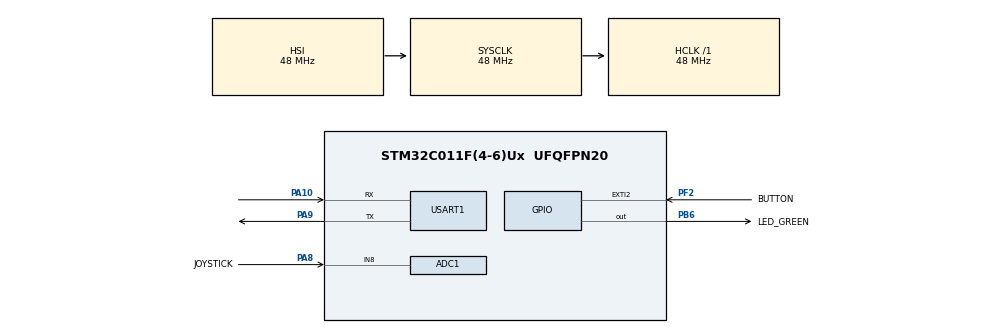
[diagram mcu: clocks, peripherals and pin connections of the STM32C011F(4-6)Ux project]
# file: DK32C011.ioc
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ADC1.Channel-0\#ChannelRegularConversion=ADC_CHANNEL_TEMPSENSOR
ADC1.Channel-1\#ChannelRegularConversion=ADC_CHANNEL_VREFINT
ADC1.Channel-2\#ChannelRegularConversion=ADC_CHANNEL_8
ADC1.ClockPrescaler=ADC_CLOCK_ASYNC_DIV32
ADC1.DataAlign=ADC_DATAALIGN_RIGHT
ADC1.NbrOfConversion=3
ADC1.NbrOfConversionFlag=1
ADC1.Rank-0\#ChannelRegularConversion=1
ADC1.Rank-1\#ChannelRegularConversion=2
ADC1.Rank-2\#ChannelRegularConversion=3
ADC1.Resolution=ADC_RESOLUTION_12B
ADC1.SamplingTime-1\#ChannelRegularConversion=ADC_SAMPLINGTIME_COMMON_1
ADC1.SamplingTime-2\#ChannelRegularConversion=ADC_SAMPLINGTIME_COMMON_1
ADC1.SamplingTimeCommon1=ADC_SAMPLETIME_160CYCLES_5
ADC1.SelectedChannel=ADC_CHANNEL_TEMPSENSOR|ADC_CHANNEL_VREFINT|ADC_CHANNEL_8
ADC1.Sequencer=FULLY_CONFIGURABLE
ADC1.TriggerFrequencyMode=ADC_TRIGGER_FREQ_LOW
ADC1.master=1
Dma.ADC1.0.Direction=DMA_PERIPH_TO_MEMORY
Dma.ADC1.0.EventEnable=DISABLE
Dma.ADC1.0.Instance=DMA1_Channel3
Dma.ADC1.0.MemDataAlignment=DMA_MDATAALIGN_HALFWORD
Dma.ADC1.0.MemInc=DMA_MINC_ENABLE
Dma.ADC1.0.Mode=DMA_NORMAL
Dma.ADC1.0.PeriphDataAlignment=DMA_PDATAALIGN_HALFWORD
Dma.ADC1.0.PeriphInc=DMA_PINC_DISABLE
Dma.ADC1.0.Polarity=HAL_DMAMUX_REQ_GEN_RISING
Dma.ADC1.0.Priority=DMA_PRIORITY_LOW
Dma.ADC1.0.RequestNumber=1
Dma.ADC1.0.SignalID=NONE
Dma.ADC1.0.SyncEnable=DISABLE
Dma.ADC1.0.SyncPolarity=HAL_DMAMUX_SYNC_NO_EVENT
Dma.ADC1.0.SyncRequestNumber=1
Dma.ADC1.0.SyncSignalID=NONE
Dma.Request0=ADC1
Dma.Request1=USART1_RX
Dma.Request2=USART1_TX
Dma.USART1_RX.1.Direction=DMA_PERIPH_TO_MEMORY
Dma.USART1_RX.1.EventEnable=DISABLE
Dma.USART1_RX.1.Instance=DMA1_Channel1
Dma.USART1_RX.1.MemDataAlignment=DMA_MDATAALIGN_BYTE
Dma.USART1_RX.1.MemInc=DMA_MINC_ENABLE
Dma.USART1_RX.1.Mode=DMA_NORMAL
Dma.USART1_RX.1.PeriphDataAlignment=DMA_PDATAALIGN_BYTE
Dma.USART1_RX.1.PeriphInc=DMA_PINC_DISABLE
Dma.USART1_RX.1.Polarity=HAL_DMAMUX_REQ_GEN_RISING
Dma.USART1_RX.1.Priority=DMA_PRIORITY_LOW
Dma.USART1_RX.1.RequestNumber=1
Dma.USART1_RX.1.SignalID=NONE
Dma.USART1_RX.1.SyncEnable=DISABLE
Dma.USART1_RX.1.SyncPolarity=HAL_DMAMUX_SYNC_NO_EVENT
Dma.USART1_RX.1.SyncRequestNumber=1
Dma.USART1_RX.1.SyncSignalID=NONE
Dma.USART1_TX.2.Direction=DMA_MEMORY_TO_PERIPH
Dma.USART1_TX.2.EventEnable=DISABLE
Dma.USART1_TX.2.Instance=DMA1_Channel2
Dma.USART1_TX.2.MemDataAlignment=DMA_MDATAALIGN_BYTE
Dma.USART1_TX.2.MemInc=DMA_MINC_ENABLE
Dma.USART1_TX.2.Mode=DMA_NORMAL
Dma.USART1_TX.2.PeriphDataAlignment=DMA_PDATAALIGN_BYTE
Dma.USART1_TX.2.PeriphInc=DMA_PINC_DISABLE
Dma.USART1_TX.2.Polarity=HAL_DMAMUX_REQ_GEN_RISING
Dma.USART1_TX.2.Priority=DMA_PRIORITY_LOW
Dma.USART1_TX.2.RequestNumber=1
Dma.USART1_TX.2.SignalID=NONE
Dma.USART1_TX.2.SyncEnable=DISABLE
Dma.USART1_TX.2.SyncPolarity=HAL_DMAMUX_SYNC_NO_EVENT
Dma.USART1_TX.2.SyncRequestNumber=1
Dma.USART1_TX.2.SyncSignalID=NONE
Mcu.Family=STM32C0
Mcu.Name=STM32C011F(4-6)Ux
Mcu.Package=UFQFPN20
NVIC.DMA1_Channel1_IRQn=true\:0\:0\:false\:false\:true\:false\:true\:true
NVIC.DMA1_Channel2_3_IRQn=true\:0\:0\:false\:false\:true\:false\:true\:true
NVIC.EXTI2_3_IRQn=true\:0\:0\:false\:false\:true\:true\:true\:true
PA10\ [PA12].Mode=Asynchronous
PA10\ [PA12].Signal=USART1_RX
PA13.Mode=Serial_Wire
PA13.Signal=DEBUG_SWDIO
PA14-BOOT0.Mode=Serial_Wire
PA14-BOOT0.Signal=DEBUG_SWCLK
PA2.Signal=USART2_TX
PA3.Signal=USART2_RX
PA4.Signal=SPI1_NSS
PA5.Signal=SPI1_SCK
PA6.Signal=SPI1_MISO
PA7.Signal=SPI1_MOSI
PA8.GPIO_Label=JOYSTICK
PA8.GPIO_Mode=GPIO_MODE_ANALOG
PA8.GPIO_PuPd=GPIO_NOPULL
PA8.Mode=IN8
PA8.Signal=ADC1_IN8
PA9\ [PA11].Mode=Asynchronous
PA9\ [PA11].Signal=USART1_TX
PB6.GPIO_Label=LED_GREEN
PB6.GPIO_Speed=GPIO_SPEED_FREQ_VERY_HIGH
PB6.PinState=GPIO_PIN_SET
PB6.Signal=GPIO_Output
PF2-NRST.GPIO_Label=BUTTON
PF2-NRST.Signal=GPXTI2
ProjectManager.HeapSize=0x200
ProjectManager.StackSize=0x400
ProjectManager.TargetToolchain=STM32CubeIDE
RCC.ADCFreq_Value=48000000
RCC.AHBFreq_Value=48000000
RCC.CortexFreq_Value=48000000
RCC.EXTERNAL_CLOCK_VALUE=12288000
RCC.HCLKFreq_Value=48000000
RCC.HSE_VALUE=8000000
RCC.HSISYSCLKDivider=RCC_HSI_DIV1
RCC.HSI_VALUE=48000000
RCC.LSE_VALUE=32768
RCC.SYSCLKFreq_VALUE=48000000
USART1.VirtualMode-Asynchronous=VM_ASYNC
VP_ADC1_TempSens_Input.Mode=IN-TempSens
VP_ADC1_Vref_Input.Mode=IN-Vrefint
VP_SYS_VS_PINREMAP.Mode=PINREMAP
VP_SYS_VS_PINREMAP_10_12.Mode=PINREMAP_10_12
board=STM32C0116-DK

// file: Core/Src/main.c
/* USER CODE BEGIN Header */
/**
  ******************************************************************************
  * @file           : main.c
  * @brief          : Main program body
  ******************************************************************************
  * @attention
  *
  * Copyright (c) 2024 STMicroelectronics.
  * All rights reserved.
  *
  * This software is licensed under terms that can be found in the LICENSE file
  * in the root directory of this software component.
  * If no LICENSE file comes with this software, it is provided AS-IS.
  *
  ******************************************************************************
  */
/* USER CODE END Header */
#include "main.h"

/* USER CODE BEGIN PM */
/* Definitions of internal temperature sensor */
#define INTERNAL_TEMPSENSOR_AVGSLOPE   ((int32_t) 2530)        /* Internal temperature sensor, parameter Avg_Slope (unit: uV/DegCelsius). Refer to device datasheet for min/typ/max values. */
#define INTERNAL_TEMPSENSOR_V30        ((((int32_t)*TEMPSENSOR_CAL1_ADDR) \
                                        * TEMPSENSOR_CAL_VREFANALOG) / __LL_ADC_DIGITAL_SCALE(LL_ADC_RESOLUTION_12B)) /* Internal temperature sensor, parameter V30 (unit: mV), using calibration data (alternate solution possible with datasheet parameter: V30=760mV typ for STM32C0) */
#define INTERNAL_TEMPSENSOR_V30_TEMP   (TEMPSENSOR_CAL1_TEMP)

/* USER CODE END PM */

ADC_HandleTypeDef hadc1;
DMA_HandleTypeDef hdma_adc1;

UART_HandleTypeDef huart1;
DMA_HandleTypeDef hdma_usart1_rx;
DMA_HandleTypeDef hdma_usart1_tx;

/* USER CODE BEGIN PV */
COM_InitTypeDef BspCOMInit;

/* USER CODE END PV */

void SystemClock_Config(void);
static void MX_GPIO_Init(void);
static void MX_DMA_Init(void);
static void MX_ADC1_Init(void);
static void MX_USART1_UART_Init(void);

/* USER CODE BEGIN 0 */
static char uart_tx_data[512];
__IO uint32_t adc_data[3];

/* USER CODE END 0 */

int main(void)
{

  /* MCU Configuration--------------------------------------------------------*/

  /* Reset of all peripherals, Initializes the Flash interface and the Systick. */
  HAL_Init();

  /* Configure the system clock */
  SystemClock_Config();

  /* Initialize all configured peripherals */
  MX_GPIO_Init();
  MX_DMA_Init();
  MX_ADC1_Init();
  MX_USART1_UART_Init();
  /* USER CODE BEGIN 2 */
  /* Initialize leds */
  BSP_LED_Init(LED_GREEN);

  /* Initialize USER push-button, will be used to trigger an interrupt each time it's pressed.*/
  BSP_PB_Init(BUTTON_USER, BUTTON_MODE_EXTI);

  /* Initialize COM1 port (115200, 8 bits (7-bit data + 1 stop bit), no parity */
  BspCOMInit.BaudRate   = 115200;
  BspCOMInit.WordLength = COM_WORDLENGTH_8B;
  BspCOMInit.StopBits   = COM_STOPBITS_1;
  BspCOMInit.Parity     = COM_PARITY_NONE;
  BspCOMInit.HwFlowCtl  = COM_HWCONTROL_NONE;
  if (BSP_COM_Init(COM1, &BspCOMInit) != BSP_ERROR_NONE)
  {
    Error_Handler();
  }

  /* USER CODE END 2 */

  /* Infinite loop */
  /* USER CODE BEGIN WHILE */

  /* Run the ADC calibration in single-ended mode */
  if (HAL_ADCEx_Calibration_Start(&hadc1) != HAL_OK)
  {
    /* Calibration Error */
    Error_Handler();
  }

  while (1)
  {
	while (LL_ADC_REG_IsConversionOngoing(hadc1.Instance)) {}

	/* Start ADC group regular conversion with DMA */
	if (HAL_ADC_Start_DMA(&hadc1, (uint32_t *)adc_data, 3u) != HAL_OK)
	{
	  /* ADC conversion start error */
	  Error_Handler();
	}

	BSP_LED_Toggle(LED_GREEN);
	HAL_Delay(400);
    /* USER CODE END WHILE */

  }
}

void SystemClock_Config(void)
{
  RCC_OscInitTypeDef RCC_OscInitStruct = {0};
  RCC_ClkInitTypeDef RCC_ClkInitStruct = {0};

  /** Initializes the RCC Oscillators according to the specified parameters
  * in the RCC_OscInitTypeDef structure.
  */
  RCC_OscInitStruct.OscillatorType = RCC_OSCILLATORTYPE_HSI;
  RCC_OscInitStruct.HSIState = RCC_HSI_ON;
  RCC_OscInitStruct.HSIDiv = RCC_HSI_DIV1;
  RCC_OscInitStruct.HSICalibrationValue = RCC_HSICALIBRATION_DEFAULT;
  if (HAL_RCC_OscConfig(&RCC_OscInitStruct) != HAL_OK)
  {
    Error_Handler();
  }

  /** Initializes the CPU, AHB and APB buses clocks
  */
  RCC_ClkInitStruct.ClockType = RCC_CLOCKTYPE_HCLK|RCC_CLOCKTYPE_SYSCLK
                              |RCC_CLOCKTYPE_PCLK1;
  RCC_ClkInitStruct.SYSCLKSource = RCC_SYSCLKSOURCE_HSI;
  RCC_ClkInitStruct.SYSCLKDivider = RCC_SYSCLK_DIV1;
  RCC_ClkInitStruct.AHBCLKDivider = RCC_HCLK_DIV1;
  RCC_ClkInitStruct.APB1CLKDivider = RCC_APB1_DIV1;

  if (HAL_RCC_ClockConfig(&RCC_ClkInitStruct, FLASH_LATENCY_1) != HAL_OK)
  {
    Error_Handler();
  }
}

static void MX_ADC1_Init(void)
{

  ADC_ChannelConfTypeDef sConfig = {0};

  /** Configure the global features of the ADC (Clock, Resolution, Data Alignment and number of conversion)
  */
  hadc1.Instance = ADC1;
  hadc1.Init.ClockPrescaler = ADC_CLOCK_ASYNC_DIV32;
  hadc1.Init.Resolution = ADC_RESOLUTION_12B;
  hadc1.Init.DataAlign = ADC_DATAALIGN_RIGHT;
  hadc1.Init.ScanConvMode = ADC_SCAN_ENABLE;
  hadc1.Init.EOCSelection = ADC_EOC_SINGLE_CONV;
  hadc1.Init.LowPowerAutoWait = DISABLE;
  hadc1.Init.LowPowerAutoPowerOff = DISABLE;
  hadc1.Init.ContinuousConvMode = DISABLE;
  hadc1.Init.NbrOfConversion = 3;
  hadc1.Init.DiscontinuousConvMode = DISABLE;
  hadc1.Init.ExternalTrigConv = ADC_SOFTWARE_START;
  hadc1.Init.ExternalTrigConvEdge = ADC_EXTERNALTRIGCONVEDGE_NONE;
  hadc1.Init.DMAContinuousRequests = DISABLE;
  hadc1.Init.Overrun = ADC_OVR_DATA_PRESERVED;
  hadc1.Init.SamplingTimeCommon1 = ADC_SAMPLETIME_160CYCLES_5;
  hadc1.Init.SamplingTimeCommon2 = ADC_SAMPLETIME_1CYCLE_5;
  hadc1.Init.OversamplingMode = DISABLE;
  hadc1.Init.TriggerFrequencyMode = ADC_TRIGGER_FREQ_LOW;
  if (HAL_ADC_Init(&hadc1) != HAL_OK)
  {
    Error_Handler();
  }

  /** Configure Regular Channel
  */
  sConfig.Channel = ADC_CHANNEL_TEMPSENSOR;
  sConfig.Rank = ADC_REGULAR_RANK_1;
  sConfig.SamplingTime = ADC_SAMPLINGTIME_COMMON_1;
  if (HAL_ADC_ConfigChannel(&hadc1, &sConfig) != HAL_OK)
  {
    Error_Handler();
  }

  /** Configure Regular Channel
  */
  sConfig.Channel = ADC_CHANNEL_VREFINT;
  sConfig.Rank = ADC_REGULAR_RANK_2;
  if (HAL_ADC_ConfigChannel(&hadc1, &sConfig) != HAL_OK)
  {
    Error_Handler();
  }

  /** Configure Regular Channel
  */
  sConfig.Channel = ADC_CHANNEL_8;
  sConfig.Rank = ADC_REGULAR_RANK_3;
  if (HAL_ADC_ConfigChannel(&hadc1, &sConfig) != HAL_OK)
  {
    Error_Handler();
  }
  /* USER CODE BEGIN ADC1_Init 2 */
  /** Configure Regular Channel
    */
    sConfig.Channel = ADC_CHANNEL_8;
    sConfig.Rank = ADC_REGULAR_RANK_3;
    sConfig.SamplingTime = ADC_SAMPLINGTIME_COMMON_1;
    if (HAL_ADC_ConfigChannel(&hadc1, &sConfig) != HAL_OK)
    {
      Error_Handler();
    }

    /** Configure Regular Channel
    */
    sConfig.Channel = ADC_CHANNEL_VREFINT;
    sConfig.Rank = ADC_REGULAR_RANK_2;
    if (HAL_ADC_ConfigChannel(&hadc1, &sConfig) != HAL_OK)
    {
      Error_Handler();
    }

  /* USER CODE END ADC1_Init 2 */

}

static void MX_USART1_UART_Init(void)
{

  huart1.Instance = USART1;
  huart1.Init.BaudRate = 115200;
  huart1.Init.WordLength = UART_WORDLENGTH_8B;
  huart1.Init.StopBits = UART_STOPBITS_1;
  huart1.Init.Parity = UART_PARITY_NONE;
  huart1.Init.Mode = UART_MODE_TX_RX;
  huart1.Init.HwFlowCtl = UART_HWCONTROL_NONE;
  huart1.Init.OverSampling = UART_OVERSAMPLING_16;
  huart1.Init.OneBitSampling = UART_ONE_BIT_SAMPLE_DISABLE;
  huart1.Init.ClockPrescaler = UART_PRESCALER_DIV1;
  huart1.AdvancedInit.AdvFeatureInit = UART_ADVFEATURE_NO_INIT;
  if (HAL_UART_Init(&huart1) != HAL_OK)
  {
    Error_Handler();
  }
  if (HAL_UARTEx_SetTxFifoThreshold(&huart1, UART_TXFIFO_THRESHOLD_1_8) != HAL_OK)
  {
    Error_Handler();
  }
  if (HAL_UARTEx_SetRxFifoThreshold(&huart1, UART_RXFIFO_THRESHOLD_1_8) != HAL_OK)
  {
    Error_Handler();
  }
  if (HAL_UARTEx_DisableFifoMode(&huart1) != HAL_OK)
  {
    Error_Handler();
  }

}

static void MX_DMA_Init(void)
{

  /* DMA controller clock enable */
  __HAL_RCC_DMA1_CLK_ENABLE();

  /* DMA interrupt init */
  /* DMA1_Channel1_IRQn interrupt configuration */
  HAL_NVIC_SetPriority(DMA1_Channel1_IRQn, 0, 0);
  HAL_NVIC_EnableIRQ(DMA1_Channel1_IRQn);
  /* DMA1_Channel2_3_IRQn interrupt configuration */
  HAL_NVIC_SetPriority(DMA1_Channel2_3_IRQn, 0, 0);
  HAL_NVIC_EnableIRQ(DMA1_Channel2_3_IRQn);

}

static void MX_GPIO_Init(void)
{
  GPIO_InitTypeDef GPIO_InitStruct = {0};

  /* GPIO Ports Clock Enable */
  __HAL_RCC_GPIOF_CLK_ENABLE();
  __HAL_RCC_GPIOA_CLK_ENABLE();
  __HAL_RCC_GPIOB_CLK_ENABLE();

  /*Configure GPIO pin Output Level */
  HAL_GPIO_WritePin(LED_GREEN_GPIO_Port, LED_GREEN_Pin, GPIO_PIN_SET);

  /*Configure GPIO pin : BUTTON_Pin */
  GPIO_InitStruct.Pin = BUTTON_Pin;
  GPIO_InitStruct.Mode = GPIO_MODE_IT_RISING;
  GPIO_InitStruct.Pull = GPIO_NOPULL;
  HAL_GPIO_Init(BUTTON_GPIO_Port, &GPIO_InitStruct);

  /*Configure GPIO pins : PA2 PA3 */
  GPIO_InitStruct.Pin = GPIO_PIN_2|GPIO_PIN_3;
  GPIO_InitStruct.Mode = GPIO_MODE_AF_PP;
  GPIO_InitStruct.Pull = GPIO_NOPULL;
  GPIO_InitStruct.Speed = GPIO_SPEED_FREQ_LOW;
  GPIO_InitStruct.Alternate = GPIO_AF1_USART2;
  HAL_GPIO_Init(GPIOA, &GPIO_InitStruct);

  /*Configure GPIO pins : PA4 PA5 PA6 PA7 */
  GPIO_InitStruct.Pin = GPIO_PIN_4|GPIO_PIN_5|GPIO_PIN_6|GPIO_PIN_7;
  GPIO_InitStruct.Mode = GPIO_MODE_AF_PP;
  GPIO_InitStruct.Pull = GPIO_NOPULL;
  GPIO_InitStruct.Speed = GPIO_SPEED_FREQ_LOW;
  GPIO_InitStruct.Alternate = GPIO_AF0_SPI1;
  HAL_GPIO_Init(GPIOA, &GPIO_InitStruct);

  /*Configure GPIO pin : LED_GREEN_Pin */
  GPIO_InitStruct.Pin = LED_GREEN_Pin;
  GPIO_InitStruct.Mode = GPIO_MODE_OUTPUT_PP;
  GPIO_InitStruct.Pull = GPIO_NOPULL;
  GPIO_InitStruct.Speed = GPIO_SPEED_FREQ_VERY_HIGH;
  HAL_GPIO_Init(LED_GREEN_GPIO_Port, &GPIO_InitStruct);

  /* EXTI interrupt init*/
  HAL_NVIC_SetPriority(EXTI2_3_IRQn, 0, 0);
  HAL_NVIC_EnableIRQ(EXTI2_3_IRQn);

}

/* USER CODE BEGIN 4 */
/**
  * @brief  Conversion complete callback in non-blocking mode.
  * @param hadc ADC handle
  * @retval None
  */
void HAL_ADC_ConvCpltCallback(ADC_HandleTypeDef *hadc)
{
  /* Prevent unused argument(s) compilation warning */
  UNUSED(hadc);

  static uint32_t idx_conv = 0ul;

  sprintf(uart_tx_data, "\n\r# %ld\n\r", idx_conv++);
  HAL_UART_Transmit(hcom_uart, (uint8_t*)uart_tx_data, strlen(uart_tx_data), 100);

  uint32_t vref_mv = __HAL_ADC_CALC_VREFANALOG_VOLTAGE(adc_data[1], ADC_RESOLUTION_12B);
  sprintf(uart_tx_data, "Vref [mV] %ld\n\r", vref_mv);
  HAL_UART_Transmit(hcom_uart, (uint8_t*)uart_tx_data, strlen(uart_tx_data), 100);

  uint32_t vin8_mv = __HAL_ADC_CALC_DATA_TO_VOLTAGE(vref_mv, adc_data[0], ADC_RESOLUTION_12B);
  sprintf(uart_tx_data, "IN8 [mV] %ld\n\r", vin8_mv);
  HAL_UART_Transmit(hcom_uart, (uint8_t*)uart_tx_data, strlen(uart_tx_data), 100);

  uint32_t temp_c = __LL_ADC_CALC_TEMPERATURE_TYP_PARAMS(INTERNAL_TEMPSENSOR_AVGSLOPE,
                                                          INTERNAL_TEMPSENSOR_V30,
                                                          INTERNAL_TEMPSENSOR_V30_TEMP,
                                                          vref_mv,
                                                          adc_data[2],
                                                          LL_ADC_RESOLUTION_12B);
  sprintf(uart_tx_data, "Temperature [deg.C] %ld\n\r", temp_c);
  HAL_UART_Transmit(hcom_uart, (uint8_t*)uart_tx_data, strlen(uart_tx_data), 100);
}

/* USER CODE END 4 */

void Error_Handler(void)
{
  __disable_irq();
  while (1)
  {
  }
}
